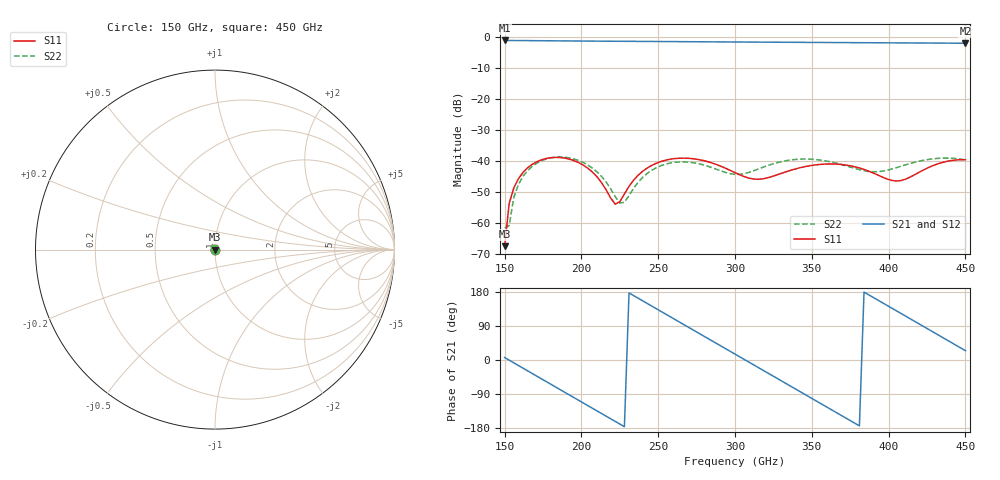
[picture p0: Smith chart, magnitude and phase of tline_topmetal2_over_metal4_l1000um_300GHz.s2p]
#  GHZ S DB R 50
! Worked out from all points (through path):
!   101 points, 150 GHz to 450 GHz, reference 50 ohm
!   highest |S21| = -0.96 dB at 150 GHz (marker M1); lowest = -1.9 dB at 450 GHz (marker M2)
!   group delay of S21, straight-line fit = 6.5 ps
!   lowest |S11| = -67.5 dB at 150 GHz (marker M3), VSWR 1.00, Z = 50 - j0.00129 ohm
!   |S11| at or under -10 dB: start of sweep to end of sweep
!   |S22| runs from -61.6 to -38.7 dB; largest |S21 - S12| = 1.5e-14
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150  -67.51 -1.7  -0.96 6.5  -0.96 6.5  -61.57 -163.5
153  -53.62 7.9  -0.97 -0.5  -0.97 -0.5  -60.79 11.9
156  -48.66 2.1  -0.98 -7.5  -0.98 -7.5  -51.70 3.2
162  -43.64 -12.3  -1.00 -21.6  -1.00 -21.6  -44.90 -12.6
183  -38.78 -67.4  -1.08 -70.8  -1.08 -70.8  -38.73 -68.8
201  -41.23 -119.0  -1.15 -112.9  -1.15 -112.9  -40.39 -119.8
213  -46.87 -163.3  -1.19 -141.0  -1.19 -141.0  -44.88 -160.1
222  -53.91 118.1  -1.22 -162.0  -1.22 -162.0  -51.46 147.4
228  -50.61 45.9  -1.24 -176.0  -1.24 -176.0  -53.31 72.2
240  -43.23 -12.5  -1.27 155.9  -1.27 155.9  -45.19 -10.0
252  -40.09 -52.4  -1.31 127.8  -1.31 127.8  -41.44 -53.0
264  -39.05 -91.0  -1.35 99.7  -1.35 99.7  -40.25 -93.3
276  -39.46 -131.6  -1.38 71.7  -1.38 71.7  -40.80 -136.6
300  -43.72 128.3  -1.46 15.6  -1.46 15.6  -44.27 104.2
321  -45.42 1.3  -1.52 -33.5  -1.52 -33.5  -41.48 -11.1
336  -43.00 -76.7  -1.56 -68.6  -1.56 -68.6  -39.64 -72.6
351  -41.31 -140.2  -1.60 -103.7  -1.60 -103.7  -39.42 -130.0
378  -41.81 114.2  -1.68 -166.8  -1.68 -166.8  -42.35 113.1
390  -43.84 61.8  -1.71 165.1  -1.71 165.1  -43.45 46.3
402  -46.24 -6.9  -1.74 137.0  -1.74 137.0  -42.55 -22.0
426  -42.06 -146.2  -1.80 80.9  -1.80 80.9  -39.44 -130.2
450  -39.56 127.7  -1.86 24.7  -1.86 24.7  -39.59 137.7
